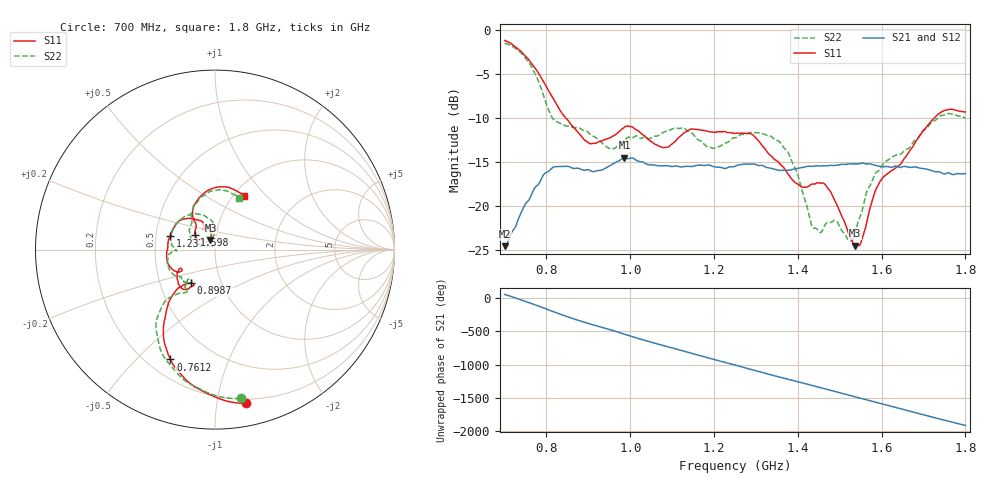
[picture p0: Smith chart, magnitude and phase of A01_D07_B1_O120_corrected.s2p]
! Created with skrf 1.9.0 (http://scikit-rf.org).
# Hz S RI R 50.0
!freq ReS11 ImS11 ReS21 ImS21 ReS12 ImS12 ReS22 ImS22
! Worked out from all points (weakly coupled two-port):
!   1601 points, 700 MHz to 1.8 GHz, reference 50 ohm
!   highest |S21| = -14.53 dB at 986 MHz (marker M1); lowest = -24.6 dB at 700.7 MHz (marker M2)
!   lowest |S11| = -24.5 dB at 1.537 GHz (marker M3), VSWR 1.13, Z = 47.3 + j5.09 ohm
!   |S11| at or under -10 dB: 846.7 MHz to 1.725 GHz (878.7 MHz wide, 68.3 % of centre)
!   |S22| runs from -24.0 to -1.5 dB; largest |S21 - S12| = 0.0037
!   S11 on the Smith chart (normalised r, x): 700 MHz: 0.17, -1.21; 761.2 MHz: 0.29, -0.63; 898.7 MHz: 0.72, -0.28; 1.237 GHz: 0.59, +0.10; 1.598 GHz: 0.79, +0.13; 1.8 GHz: 1.12, +0.76
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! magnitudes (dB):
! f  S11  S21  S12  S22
! 700 MHz  -1.2  -24.6  -24.3  -1.5
! 700.7 MHz  -1.2  -24.6  -24.3  -1.5
! 761.2 MHz  -3.6  -19.0  -18.9  -3.9
! 816.2 MHz  -7.8  -15.6  -15.7  -10.1
! 883.6 MHz  -12.1  -15.9  -15.8  -11.3
! 898.7 MHz  -12.8  -15.9  -15.9  -11.6
! 952.3 MHz  -12.2  -15.4  -15.4  -13.5
! 986 MHz  -11.0  -14.5  -14.6  -12.6
! 1.067 GHz  -13.1  -15.4  -15.4  -12.0
! 1.145 GHz  -11.3  -15.5  -15.5  -11.7
! 1.237 GHz  -11.7  -15.5  -15.7  -12.6
! 1.25 GHz  -11.7  -15.5  -15.4  -12.2
! 1.358 GHz  -15.2  -16.0  -15.9  -12.8
! 1.396 GHz  -17.4  -15.8  -15.8  -16.0
! 1.434 GHz  -17.5  -15.5  -15.5  -22.3
! 1.473 GHz  -18.1  -15.4  -15.4  -21.9
! 1.537 GHz  -24.5  -15.2  -15.2  -23.2
! 1.551 GHz  -24.1  -15.1  -15.2  -20.9
! 1.598 GHz  -17.1  -15.5  -15.5  -15.7
! 1.617 GHz  -16.2  -15.6  -15.5  -14.7
! 1.735 GHz  -9.5  -16.1  -16.2  -9.9
! 1.8 GHz  -9.3  -16.3  -16.3  -10.0
